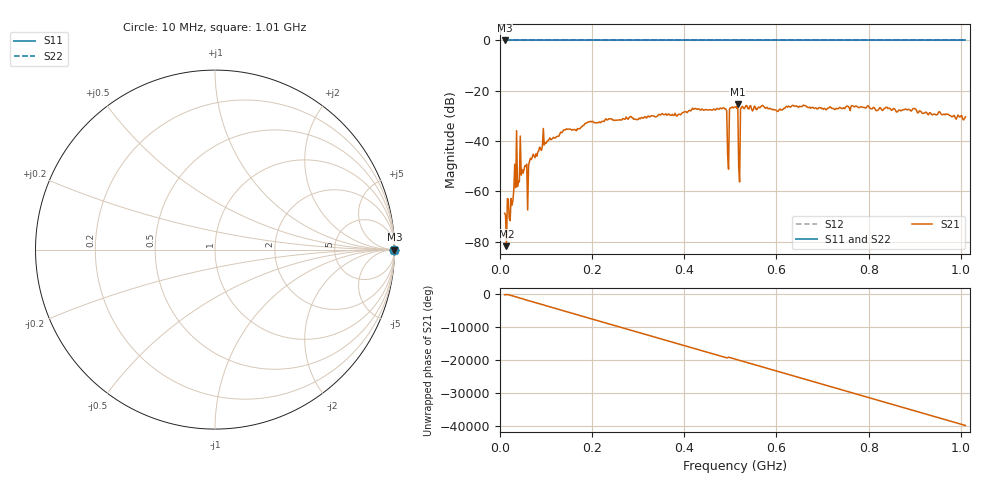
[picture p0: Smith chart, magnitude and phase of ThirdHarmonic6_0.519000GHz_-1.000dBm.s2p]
! 8/15/2025 3:58:01 PM
! C:\ANRITSUVNA\TEMP\TEMP.S2P
! CHANNEL.1
! TR.MEASUREMENT
! RAW.DATA
! RF.CORRECTION.OFF
! AVERAGING.OFF
! IF.BANDWIDTH: 5KHZ
! SWEEPTYPE:  FREQ.SWEEP(Linear)
! Reference Plane Port Info
! PORT:  PORT1  PORT2
! DISTANCE:  0  m  0  m
! TIME:  0  s  0  s
! PHASE.OFFSET:  0  deg.  0  deg.
! LOSS:  0  dB  0  dB
! REF.LOSS:  0  dB  0  dB
! REF.FREQ:  0  Hz  0  Hz
! Power Info
! POWER:  -20  dBm  -20  dBm
! EFF.POWER:  -20  dBm  -20  dBm
! SOURCE.ATTEN:  0  dB  0  dB
! TEST.ATTEN:  0  dB  0  dB
# GHZ S RI R 50.0
! FREQ.GHZ  S11RE  S11IM  S21RE  S21IM  S12RE  S12IM  S22RE  S22IM
!; PortSelection: Port_12
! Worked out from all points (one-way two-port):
!   501 points, 10 MHz to 1.01 GHz, reference 50 ohm
!   highest |S21| = -25.32 dB at 516 MHz (marker M1); lowest = -81.7 dB at 14 MHz (marker M2)
!   lowest |S11| = 0.0 dB at 10 MHz (marker M3)
!   |S11| at or under -10 dB: nowhere
!   |S22| runs from 0.0 to 0.0 dB; largest |S21 - S12| = 1.1
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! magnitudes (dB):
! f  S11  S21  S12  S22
! 10 MHz  0.0  -68.7  0.0  0.0
! 14 MHz  0.0  -81.7  0.0  0.0
! 24 MHz  0.0  -62.8  0.0  0.0
! 32 MHz  0.0  -49.2  0.0  0.0
! 40 MHz  0.0  -56.0  0.0  0.0
! 56 MHz  0.0  -49.9  0.0  0.0
! 98 MHz  0.0  -40.6  0.0  0.0
! 178 MHz  0.0  -34.2  0.0  0.0
! 344 MHz  0.0  -29.5  0.0  0.0
! 486 MHz  0.0  -26.8  0.0  0.0
! 494 MHz  0.0  -45.4  0.0  0.0
! 498 MHz  0.0  -27.3  0.0  0.0
! 502 MHz  0.0  -26.8  0.0  0.0
! 510 MHz  0.0  -26.5  0.0  0.0
! 512 MHz  0.0  -26.4  0.0  0.0
! 516 MHz  0.0  -25.3  0.0  0.0
! 522 MHz  0.0  -27.2  0.0  0.0
! 526 MHz  0.0  -26.2  0.0  0.0
! 530 MHz  0.0  -27.1  0.0  0.0
! 678 MHz  0.0  -26.6  0.0  0.0
! 844 MHz  0.0  -26.9  0.0  0.0
! 1.01 GHz  0.0  -30.4  0.0  0.0
